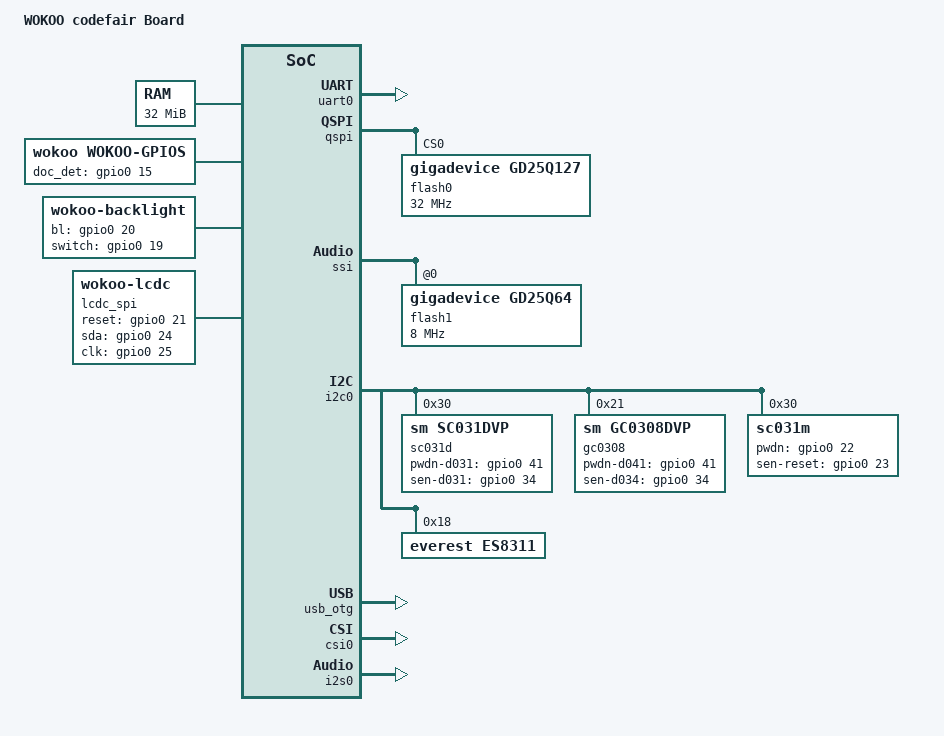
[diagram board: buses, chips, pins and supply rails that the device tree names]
/* SPDX-License-Identifier: GPL-2.0
 *
 * Copyright (c) 2020 Codefair Semiconductor Technology Co., Ltd.
 *		http://www.codefairsemi.com
 *
 */

/dts-v1/;

#include "wokoo.dtsi"

/ {
	model = "WOKOO codefair Board";
	compatible = "codefair,wokoo-codefair", "codefair,wokoo";

	chosen {
		stdout-path = &uart0;
	};

	memory {
		device_type = "memory";
		reg = <0x00000000 0x02000000>;
	};
	wokoo-gpios {
		compatible = "wokoo,wokoo-gpios";
		doc_det = <&gpio0 15 GPIO_ACTIVE_HIGH>;
		status = "okay";
	};

	sound {
		compatible = "simple-audio-card";
		simple-audio-card,format = "i2s";
		simple-audio-card,cpu {
			sound-dai = <&i2s0 0>;
		};

		simple-audio-card,codec {
			sound-dai = <&es8311>;
		};
	};

/*
	backlight: backlight {
		compatible = "pwm-backlight";
		pwms = <&pwm1 0 25000 0>;
		brightness-levels = <
			  0   1   2   3   4   5   6   7
			  8   9  10  11  12  13  14  15
			 16  17  18  19  20  21  22  23
			 24  25  26  27  28  29  30  31
			 32  33  34  35  36  37  38  39
			 40  41  42  43  44  45  46  47
			 48  49  50  51  52  53  54  55
			 56  57  58  59  60  61  62  63
			 64  65  66  67  68  69  70  71
			 72  73  74  75  76  77  78  79
			 80  81  82  83  84  85  86  87
			 88  89  90  91  92  93  94  95
			 96  97  98  99 100 101 102 103
			104 105 106 107 108 109 110 111
			112 113 114 115 116 117 118 119
			120 121 122 123 124 125 126 127
			128 129 130 131 132 133 134 135
			136 137 138 139 140 141 142 143
			144 145 146 147 148 149 150 151
			152 153 154 155 156 157 158 159
			160 161 162 163 164 165 166 167
			168 169 170 171 172 173 174 175
			176 177 178 179 180 181 182 183
			184 185 186 187 188 189 190 191
			192 193 194 195 196 197 198 199
			200 201 202 203 204 205 206 207
			208 209 210 211 212 213 214 215
			216 217 218 219 220 221 222 223
			224 225 226 227 228 229 230 231
			232 233 234 235 236 237 238 239
			240 241 242 243 244 245 246 247
			248 249 250 251 252 253 254 255>;
		default-brightness-level = <200>;
	};
*/

	backlight:backlight {
		compatible = "wokoo-backlight";
		bl-gpios = <&gpio0 20 GPIO_ACTIVE_HIGH>;
		switch-gpios = <&gpio0 19 GPIO_ACTIVE_HIGH>;
		default-on;
	};
	
	lcdc_spi:lcdc_spi{
		compatible = "wokoo-lcdc";
		reset-gpios = <&gpio0 21 GPIO_ACTIVE_HIGH>;
		sda-gpios = <&gpio0 24 GPIO_ACTIVE_HIGH>;
		clk-gpios = <&gpio0 25 GPIO_ACTIVE_HIGH>;
		cs-gpios = <&gpio0 99 GPIO_ACTIVE_HIGH>;
		status = "okay";
	};
};

&uart0 {
	u-boot,dm-pre-reloc;
	pinctrl-names = "default";
	status = "okay";
};

&qspi {
	u-boot,dm-pre-reloc;
	pinctrl-names = "default";
	status = "okay";

	flash0: gd25q127@0 {
		compatible = "gigadevice,gd25q127", "jedec,spi-nor";
		spi-max-frequency = <32000000>;
		spi-rx-bus-width = <4>;
		spi-tx-bus-width = <4>;
		reg = <0x0>;
	};
};

&ssi {
	u-boot,dm-pre-reloc;
	pinctrl-names = "default";
	status = "okay";
	flash1: gd25q64@0 {
		compatible = "gigadevice,gd25q64", "jedec,spi-nor";
		spi-max-frequency = <8000000>;
		spi-rx-bus-width = <1>;
		spi-tx-bus-width = <1>;
		reg = <0>;
	};
};

&i2c0 {
	pinctrl-names = "default";
	status = "okay";
	//status = "disabled";
	mode = <0>;
	ov5648@36 {
		address-cells = <1>;
		size-cells = <0>;
		compatible = "ov,ov5648";
		reg = <0x36>;
		pinctrl-names = "default";
		pwdn-gpio = <&gpio0 22 GPIO_ACTIVE_HIGH>;
		sen-reset = <&gpio0 23 GPIO_ACTIVE_HIGH>;
		status = "disabled";
	};

	sc031d@30 {
		compatible = "sm,sc031dvp";
		reg = <0x30>;
		pinctrl-names = "default";
		pwdn-d031 = <&gpio0 41 GPIO_ACTIVE_HIGH>;
		sen-d031 = <&gpio0 34 GPIO_ACTIVE_HIGH>;
	};

	gc0308@21 {
		compatible = "sm,gc0308dvp";
		reg = <0x21>;
		pinctrl-names = "default";
		pwdn-d041 = <&gpio0 41 GPIO_ACTIVE_HIGH>;
		sen-d034 = <&gpio0 34 GPIO_ACTIVE_HIGH>;
	};

	sc031m@30 {
		//compatible = "sm,sc031mipi";
		reg = <0x30>;
		pinctrl-names = "default";
		pwdn-gpio = <&gpio0 22 GPIO_ACTIVE_HIGH>;
		sen-reset = <&gpio0 23 GPIO_ACTIVE_HIGH>;
	};

	es8311: es8311@18 {
		compatible = "everest,es8311";
		#sound-dai-cells = <0>;
		reg = <0x18>;
	};
};

&pinctrl {
	pinctrl-names = "default";
	pinctrl-0 = <&gpio_0_27>;
	gpio_0_27: gpio_0_27 {
			function = "gpio";
			groups = "gpio_0_27_grp";

		conf-gpio15 { 
			pins = "gpio15";
			bias-pull-down;
		};
		conf-gpio18 { 
			pins = "gpio18";
			bias-pull-down;
		};
		gpio_33_35: gpio_33_35 {
			function = "gpio";
			groups = "gpio_33_35_grp";
			conf-gpio34 { 
				pins = "mfio_34";
				bias-pull-down;
				//input-disable;
			};
		};
		gpio_39_42: gpio_39_42 {
			function = "gpio";
			groups = "gpio_39_42_grp";
				conf-gpio41 { 
				pins = "mfio_41";
				bias-pull-up;
				//input-disable;
			};
		};
	};
};

&pwm0 {
	pinctrl-names = "default";
	status = "disabled";
};

&pwm1 {
	pinctrl-names = "default";
	status = "disabled";
};

&usb_otg {
	status ="okay";
};

&csi0{
	status ="okay";
};

&i2s0{
	status ="okay";
};

&fb {
	status = "disabled";
	backlight = <&backlight>;
	bits-per-pixel = <32>;
	en_polar = <0>;
	dotclk_polar = <1>;
	display-timings {
		native-mode = <&timing0>;
		timing0: timing0{
			clock-frequency = <24000000>;
			hactive = <480>;
			vactive = <800>;
			hfront-porch = <140>;
			hback-porch = <12>;
			hsync-len = <4>;
			vback-porch = <24>;
			vfront-porch = <25>;
			vsync-len = <3>;
			hsync-active = <0>;
			vsync-active = <1>;
			de-active = <0>;
			pixelclk-active = <0>;
		};
	};
};

